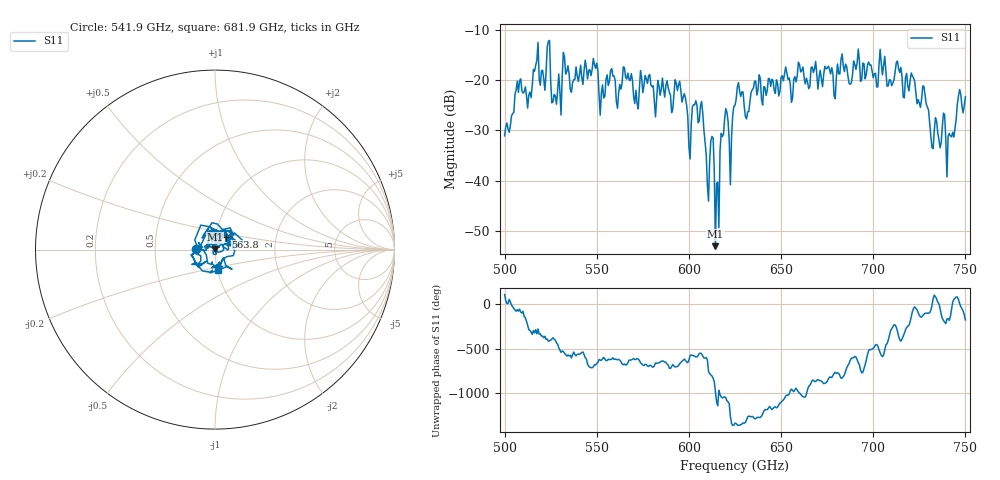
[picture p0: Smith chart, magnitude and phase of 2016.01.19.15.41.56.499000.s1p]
!Created with skrf (http://scikit-rf.org).
# GHz S RI R 50.0
!freq ReS11 ImS11
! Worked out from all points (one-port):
!   401 points, 500 GHz to 750 GHz, reference 50 ohm
!   lowest |S11| = -53.0 dB at 614.4 GHz (marker M1), VSWR 1.00, Z = 50 + j0.223 ohm
!   |S11| at or under -10 dB: start of sweep to end of sweep
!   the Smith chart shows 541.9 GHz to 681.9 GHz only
!   S11 on the Smith chart (normalised r, x): 541.9 GHz: 0.81, +0.01; 563.8 GHz: 1.11, +0.16; 681.9 GHz: 1.01, -0.23
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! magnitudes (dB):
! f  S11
! 500 GHz  -31.1
! 507.5 GHz  -22.4
! 513.8 GHz  -22.4
! 516.9 GHz  -17.1
! 520.6 GHz  -18.0
! 523.8 GHz  -12.3
! 526.9 GHz  -22.9
! 531.2 GHz  -19.3
! 541.9 GHz  -19.5
! 562.5 GHz  -20.9
! 563.8 GHz  -20.6
! 571.2 GHz  -22.0
! 593.8 GHz  -22.1
! 600 GHz  -33.2
! 606.9 GHz  -24.2
! 610 GHz  -40.7
! 612.5 GHz  -31.2
! 614.4 GHz  -53.0
! 615.6 GHz  -40.3
! 618.8 GHz  -30.8
! 622.5 GHz  -40.8
! 625 GHz  -25.0
! 656.2 GHz  -23.5
! 681.9 GHz  -18.8
! 687.5 GHz  -20.8
! 718.8 GHz  -21.2
! 740.6 GHz  -31.1
! 750 GHz  -23.3
